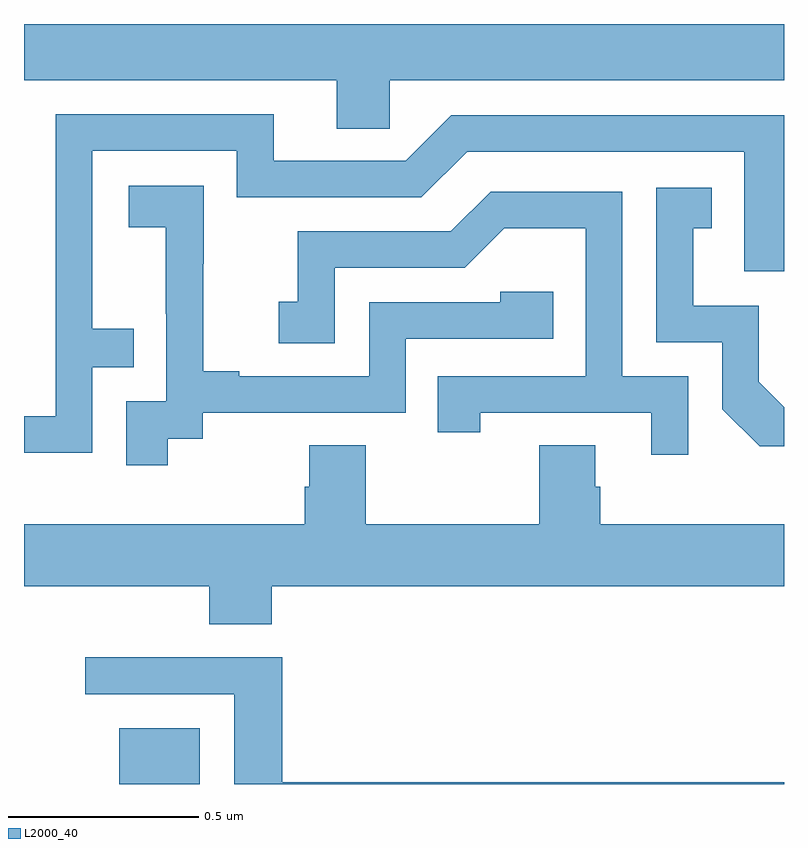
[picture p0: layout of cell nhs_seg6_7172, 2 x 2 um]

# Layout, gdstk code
import gdstk
lib = gdstk.Library(unit=1e-6, precision=1e-09)
def R(c, l, rs):  # rectangles x0, y0, x1, y1
    for r in rs: c.add(gdstk.rectangle(r[:2], r[2:], *l))
def P(c, l, *ps):  # polygons
    for p in ps: c.add(gdstk.Polygon(p, *l))
L2000_40 = (2000, 40)

nhs_seg6_7172 = lib.new_cell('nhs_seg6_7172')
R(nhs_seg6_7172, L2000_40, [(205.25,929.5,205.462,929.647)])
P(nhs_seg6_7172, L2000_40, [(205.962,931.352),(207,931.352),(207,931.5),(205,931.5),(205,931.352),(205.823,931.352),(205.823,931.225),(205.962,931.225)],
  [(205.179,930.597),(205.289,930.597),(205.289,930.698),(205.179,930.698),(205.179,931.167),(205.56,931.167),(205.56,931.044),(206.046,931.044),(206.166,931.164),(206.895,931.164),(206.895,930.849),(207,930.849),(207,931.26),(206.124,931.26),(206.004,931.14),(205.657,931.14),(205.657,931.263),(205.083,931.263),(205.083,930.468),(205,930.468),(205,930.372),(205.179,930.372)],
  [(205.378,930.409),(205.47,930.409),(205.47,930.477),(206.004,930.477),(206.004,930.672),(206.393,930.672),(206.393,930.795),(206.253,930.795),(206.253,930.768),(205.908,930.768),(205.908,930.573),(205.567,930.573),(205.567,930.586),(205.472,930.586),(205.472,930.869),(205.473,930.869),(205.473,931.075),(205.275,931.075),(205.275,930.965),(205.373,930.965),(205.373,930.737),(205.374,930.737),(205.374,930.507),(205.269,930.507),(205.269,930.339),(205.378,930.339)],
  [(207,930.492),(206.934,930.558),(206.934,930.759),(206.761,930.759),(206.761,930.963),(206.81,930.963),(206.81,931.069),(206.664,931.069),(206.664,930.663),(206.838,930.663),(206.838,930.486),(206.936,930.389),(207,930.389)],
  [(206.748,930.573),(206.574,930.573),(206.574,931.059),(206.228,931.059),(206.123,930.954),(205.72,930.954),(205.72,930.769),(205.671,930.769),(205.671,930.66),(205.818,930.66),(205.818,930.858),(206.16,930.858),(206.264,930.962),(206.478,930.962),(206.478,930.573),(206.089,930.573),(206.089,930.426),(206.2,930.426),(206.2,930.477),(206.651,930.477),(206.651,930.366),(206.748,930.366)],
  [(205.652,930.02),(207,930.02),(207,930.184),(206.516,930.184),(206.516,930.282),(206.503,930.282),(206.503,930.392),(206.356,930.392),(206.356,930.184),(205.899,930.184),(205.899,930.392),(205.751,930.392),(205.751,930.282),(205.739,930.282),(205.739,930.184),(205,930.184),(205,930.02),(205.487,930.02),(205.487,929.921),(205.652,929.921)],
  [(207,929.504),(205.679,929.504),(205.679,929.834),(205.161,929.834),(205.161,929.736),(205.553,929.736),(205.553,929.5),(207,929.5)])

lib.write_gds('nhs_seg6_7172.gds')
